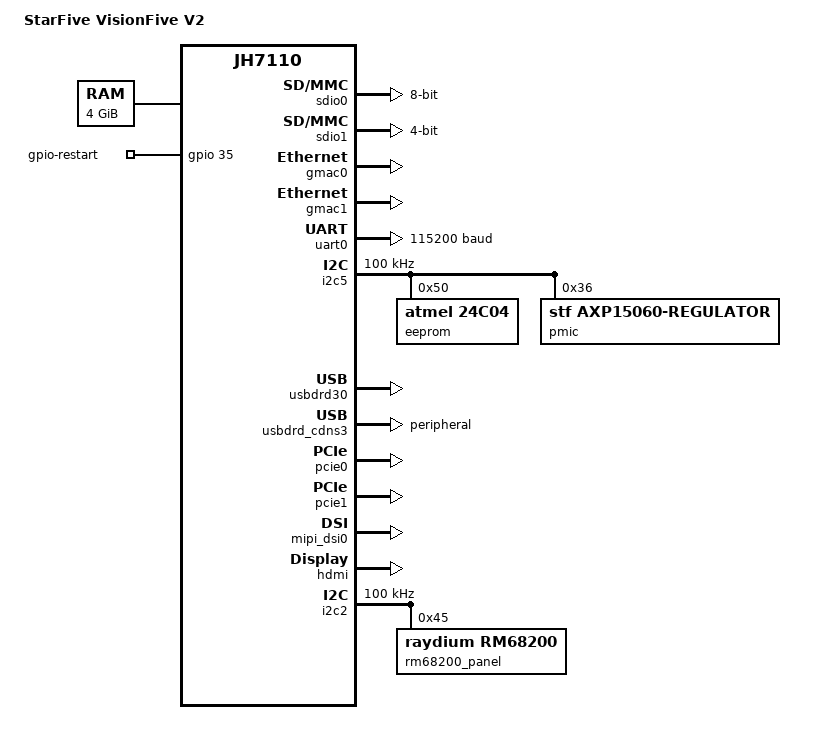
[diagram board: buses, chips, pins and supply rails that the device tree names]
// SPDX-License-Identifier: GPL-2.0 OR MIT
/*
 * Copyright (C) 2022 StarFive Technology Co., Ltd.
 */

/dts-v1/;

#include "jh7110.dtsi"
#include <dt-bindings/gpio/gpio.h>
#include <dt-bindings/pinctrl/pinctrl-starfive-jh7110.h>
/ {
	#address-cells = <2>;
	#size-cells = <2>;
	model = "StarFive VisionFive V2";
	compatible = "starfive,jh7110";

	signature {
			key-VF2_fit_key {
					required = "conf";
					algo = "sha256,rsa2048";
					rsa,r-squared = <0x8e4015fd 0xe9dea710 0x988193e1 0x2f378979 0xd9578649 0xf008a824 0x1ff557d2 0xf3181b56 0x3b695b66 0xe9d938eb 0xc63bc328 0x511fc0df 0x5c9c143e 0x7c6af852 0x6cd41008 0x0e6189a3 0x58b5b6d1 0x26a64fa0 0x84c89d28 0xc8381eab 0xc41c49d9 0x9fc9d489 0x0056b31e 0x5317684b 0x17b96764 0x44af1125 0xd5a00a20 0xfd128b7e 0x0e112d9f 0x5a333648 0x80f26377 0xbc0ec3fc 0x49ced45d 0x505ebcb2 0x5375301f 0x898f9a23 0xc8932371 0x87b380a8 0x50f0270e 0x516ba1a0 0x71384fd9 0xc652e354 0x0fc20aa9 0xfdb149bb 0x6551febd 0xd63a0214 0xb9ac005b 0x80becc42 0x6806a2a7 0xe45686b5 0xa7b428ae 0xa230efc4 0x8a068ef6 0xdf1b4978 0x1d551d31 0x8eb18f91 0x20154d7c 0x49159095 0xc7821247 0xd3ee241f 0x57470ca1 0xc0ab74f1 0x04da379f 0xc680c9d8>;
					rsa,modulus = <0xa8ee1a75 0x64524297 0xcb2cc73d 0x6b84d3ec 0x906c7b97 0xf5e66fa7 0x6b52ec62 0xd4d110fe 0x9edfe6c7 0xa76fdddd 0x8868ef31 0x78c67aee 0xc73147e5 0xd7ac460c 0x74c283ff 0xb11cd0e8 0xf91e4c2d 0x24fe223a 0x4f8fa2ee 0x6640882d 0x3ca84746 0x80046895 0x26b3e105 0x78272405 0x415274da 0xf0642e9f 0x8d393b0b 0xaffa0ae9 0xcac805b1 0x768f583c 0x0553a575 0xcc6bf22f 0x6caf0b3d 0x3a154256 0x6b9f30fc 0x9ef10322 0x7583a4e2 0xb881f956 0xb116dfdc 0x5b053d97 0x3340f3e7 0xf7bf24c2 0x5e67d245 0x741b2bb0 0x1fb64514 0x3803f921 0x9f8b1cb5 0xd4c287e8 0xcc400797 0x7ef3364b 0xf844011f 0x0118f259 0x9ccc1732 0x6f6ee3fe 0x6aca7b48 0x1a4d7c69 0xc23083f9 0x19eab691 0x8d61e827 0x781ea460 0x87388388 0x750e375f 0x1b4f81d8 0xb82c1f6b>;
					rsa,exponent = <0x00000000 0x00010001>;
					rsa,n0-inverse = <0x9e5feabd>;
					rsa,num-bits = <0x00000800>;
					key-name-hint = "VF2_fit_key";
					u-boot,dm-spl;
			};
	};

	aliases {
		spi0="/soc/spi@13010000";
		gpio0="/soc/gpio@13040000";
		ethernet0=&gmac0;
		ethernet1=&gmac1;
		mmc0=&sdio0;
		mmc1=&sdio1;
		i2c0 = &i2c5;
	};

	chosen {
			stdout-path = "/soc/serial@10000000:115200";
			starfive,boot-hart-id = <1>;
	};


	memory@80000000 {
		device_type = "memory";
		reg = <0x0 0x40000000 0x1 0x0>;
	};

	reserved-memory {
			#size-cells = <2>;
			#address-cells = <2>;
			ranges;

			opensbi {
				reg = <0x00 0x40000000 0x00 0x80000>;
				no-map;
			};
	};

	soc {
	};

	gpio-restart {
		compatible = "gpio-restart";
		gpios = <&gpio 35 GPIO_ACTIVE_HIGH>;
	};
};

&cpu0 {
	status = "okay";
};

&clkgen {
	clocks = <&osc>, <&gmac1_rmii_refin>,
		<&stg_apb>, <&gmac0_rmii_refin>;
	clock-names = "osc", "gmac1_rmii_refin",
		"stg_apb", "gmac0_rmii_refin";
};

&gpio {
	status = "okay";
	gpio-controller;
	uart0_pins: uart0-0 {
		tx-pins {
			pinmux = <GPIOMUX(5, GPOUT_SYS_UART0_TX,
						GPOEN_ENABLE, GPI_NONE)>;
			bias-disable;
			drive-strength = <12>;
			input-disable;
			input-schmitt-disable;
			slew-rate = <0>;
		};

		rx-pins {
			pinmux = <GPIOMUX(6, GPOUT_LOW,
						GPOEN_DISABLE, GPI_SYS_UART0_RX)>;
			bias-pull-up;
			drive-strength = <2>;
			input-enable;
			input-schmitt-enable;
			slew-rate = <0>;
		};
	};

	mmc0_pins: mmc0-pins {
		 mmc0-pins-rest {
			pinmux = <GPIOMUX(62, GPOUT_SYS_SDIO0_RST,
						GPOEN_ENABLE, GPI_NONE)>;
			bias-pull-up;
			drive-strength = <12>;
			input-disable;
			input-schmitt-disable;
			slew-rate = <0>;
		};
	};

	sdcard1_pins: sdcard1-pins {
		sdcard1-pins0 {
			pinmux = <GPIOMUX(10, GPOUT_SYS_SDIO1_CLK,
						GPOEN_ENABLE, GPI_NONE)>;
			bias-pull-up;
			drive-strength = <12>;
			input-disable;
			input-schmitt-disable;
			slew-rate = <0>;
		};

		sdcard1-pins1 {
			pinmux = <GPIOMUX(9, GPOUT_SYS_SDIO1_CMD,
						GPOEN_SYS_SDIO1_CMD, GPI_SYS_SDIO1_CMD)>;
			bias-pull-up;
			drive-strength = <12>;
			input-enable;
			input-schmitt-enable;
			slew-rate = <0>;
		};

		sdcard1-pins2 {
			pinmux = <GPIOMUX(11, GPOUT_SYS_SDIO1_DATA0,
						GPOEN_SYS_SDIO1_DATA0, GPI_SYS_SDIO1_DATA0)>;
			bias-pull-up;
			drive-strength = <12>;
			input-enable;
			input-schmitt-enable;
			slew-rate = <0>;
		};

		sdcard1-pins3 {
			pinmux = <GPIOMUX(12, GPOUT_SYS_SDIO1_DATA1,
						GPOEN_SYS_SDIO1_DATA1, GPI_SYS_SDIO1_DATA1)>;
			bias-pull-up;
			drive-strength = <12>;
			input-enable;
			input-schmitt-enable;
			slew-rate = <0>;
		};

		sdcard1-pins4 {
			pinmux = <GPIOMUX(7, GPOUT_SYS_SDIO1_DATA2,
						GPOEN_SYS_SDIO1_DATA2, GPI_SYS_SDIO1_DATA2)>;
			bias-pull-up;
			drive-strength = <12>;
			input-enable;
			input-schmitt-enable;
			slew-rate = <0>;
		};

		sdcard1-pins5 {
			pinmux = <GPIOMUX(8, GPOUT_SYS_SDIO1_DATA3,
						GPOEN_SYS_SDIO1_DATA3, GPI_SYS_SDIO1_DATA3)>;
			bias-pull-up;
			drive-strength = <12>;
			input-enable;
			input-schmitt-enable;
			slew-rate = <0>;
		};
	};

	pcie0_perst_default: pcie0_perst_default {
		perst-pins {
			pinmux = <GPIOMUX(26, GPOUT_HIGH, GPOEN_ENABLE, GPI_NONE)>;
			drive-strength = <2>;
			input-disable;
			input-schmitt-disable;
			slew-rate = <0>;
		};
	};

	pcie0_perst_active: pcie0_perst_active {
		perst-pins {
			pinmux = <GPIOMUX(26, GPOUT_LOW, GPOEN_ENABLE, GPI_NONE)>;
			drive-strength = <2>;
			input-disable;
			input-schmitt-disable;
			slew-rate = <0>;
		};
	};

	pcie0_wake_default: pcie0_wake_default {
		wake-pins {
			pinmux = <GPIOMUX(32, GPOUT_HIGH, GPOEN_ENABLE, GPI_NONE)>;
			drive-strength = <2>;
			input-enable;
			input-schmitt-disable;
			slew-rate = <0>;
		};
	};

	pcie0_clkreq_default: pcie0_clkreq_default {
		clkreq-pins {
			pinmux = <GPIOMUX(27, GPOUT_HIGH, GPOEN_ENABLE, GPI_NONE)>;
			drive-strength = <2>;
			input-enable;
			input-schmitt-disable;
			slew-rate = <0>;
		};
	};

	pcie1_perst_default: pcie1_perst_default {
		perst-pins {
			pinmux = <GPIOMUX(28, GPOUT_HIGH, GPOEN_ENABLE, GPI_NONE)>;
			drive-strength = <2>;
			input-disable;
			input-schmitt-disable;
			slew-rate = <0>;
		};
	};

	pcie1_perst_active: pcie1_perst_active {
		perst-pins {
			pinmux = <GPIOMUX(28, GPOUT_LOW, GPOEN_ENABLE, GPI_NONE)>;
			drive-strength = <2>;
			input-disable;
			input-schmitt-disable;
			slew-rate = <0>;
		};
	};

	pcie1_wake_default: pcie1_wake_default {
		wake-pins {
			pinmux = <GPIOMUX(21, GPOUT_HIGH, GPOEN_ENABLE, GPI_NONE)>;
			drive-strength = <2>;
			input-enable;
			input-schmitt-disable;
			slew-rate = <0>;
		};
	};

	pcie1_clkreq_default: pcie1_clkreq_default {
		clkreq-pins {
			pinmux = <GPIOMUX(29, GPOUT_HIGH, GPOEN_ENABLE, GPI_NONE)>;
			drive-strength = <2>;
			input-enable;
			input-schmitt-disable;
			slew-rate = <0>;
		};
	};

	i2c2_pins: i2c2-0 {
		i2c-pins {
			pinmux = <GPIOMUX(3, GPOUT_LOW,
				  GPOEN_SYS_I2C2_CLK,
				  GPI_SYS_I2C2_CLK)>,
				 <GPIOMUX(2, GPOUT_LOW,
				  GPOEN_SYS_I2C2_DATA,
				  GPI_SYS_I2C2_DATA)>;
			bias-disable; /* external pull-up */
			input-enable;
			input-schmitt-enable;
		};
	};

	i2c5_pins: i2c5-0 {
		i2c-pins {
			pinmux = <GPIOMUX(19, GPOUT_LOW,
				  GPOEN_SYS_I2C5_CLK,
				  GPI_SYS_I2C5_CLK)>,
				 <GPIOMUX(20, GPOUT_LOW,
				  GPOEN_SYS_I2C5_DATA,
				  GPI_SYS_I2C5_DATA)>;
			bias-disable; /* external pull-up */
			input-enable;
			input-schmitt-enable;
		};
	};

	hdmi_pins: hdmi-0 {


		cec-pins {
			pinmux = <GPIOMUX(14, GPOUT_SYS_HDMI_CEC_SDA,
				  GPOEN_SYS_HDMI_CEC_SDA,
				  GPI_SYS_HDMI_CEC_SDA)>;
			bias-pull-up;
			input-enable;
		};

		hpd-pins {
			pinmux = <GPIOMUX(15, GPOUT_LOW,
				  GPOEN_DISABLE,
				  GPI_SYS_HDMI_HPD)>;
			input-enable;
		};
	};
};

&sdio0 {
	assigned-clocks = <&clkgen JH7110_SDIO0_CLK_SDCARD>;
	assigned-clock-rates = <50000000>;
	fifo-depth = <32>;
	bus-width = <8>;
	pinctrl-names = "default";
	pinctrl-0 = <&mmc0_pins>;
	status = "okay";
};

&sdio1 {
	assigned-clocks = <&clkgen JH7110_SDIO1_CLK_SDCARD>;
	assigned-clock-rates = <50000000>;
	fifo-depth = <32>;
	bus-width = <4>;
	pinctrl-names = "default";
	pinctrl-0 = <&sdcard1_pins>;
	status = "okay";
};

&gmac0 {
	status = "okay";
	#address-cells = <1>;
	#size-cells = <0>;
	phy0: ethernet-phy@0 {
		rgmii_sw_dr_2 = <0x0>;
		rgmii_sw_dr = <0x3>;
		rgmii_sw_dr_rxc = <0x6>;
		rxc_dly_en = <0>;
		rx_delay_sel = <0xa>;
		tx_delay_sel_fe = <5>;
		tx_delay_sel = <0xa>;
		tx_inverted_10 = <0x1>;
		tx_inverted_100 = <0x1>;
		tx_inverted_1000 = <0x1>;
	};
};

&gmac1 {
	status = "okay";
	#address-cells = <1>;
	#size-cells = <0>;
	phy1: ethernet-phy@1 {
		rgmii_sw_dr_2 = <0x0>;
		rgmii_sw_dr = <0x3>;
		rgmii_sw_dr_rxc = <0x6>;
		tx_delay_sel_fe = <5>;
		tx_delay_sel = <0>;
		rxc_dly_en = <0>;
		rx_delay_sel = <0x2>;
		tx_inverted_10 = <0x1>;
		tx_inverted_100 = <0x1>;
		tx_inverted_1000 = <0x0>;
	};
};

&uart0 {
	reg-offset = <0>;
	current-speed = <115200>;
	pinctrl-names = "default";
	pinctrl-0 = <&uart0_pins>;
	status = "okay";
};

&i2c5 {
	clock-frequency = <100000>;
	i2c-sda-hold-time-ns = <300>;
	i2c-sda-falling-time-ns = <3000>;
	i2c-scl-falling-time-ns = <3000>;
	auto_calc_scl_lhcnt;
	status = "okay";

	eeprom@50 {
		compatible = "atmel,24c04";
		reg = <0x50>;
		pagesize = <16>;
	};

	pmic: axp15060_reg@36 {
               compatible = "stf,axp15060-regulator";
               reg = <0x36>;
	};

};

&gpioa {
	status = "disabled";
};

&usbdrd30 {
	status = "okay";
};

&usbdrd_cdns3 {
	dr_mode = "peripheral";
};

&pcie0 {
	pinctrl-names = "perst-default", "perst-active", "wake-default", "clkreq-default";
	pinctrl-0 = <&pcie0_perst_default>;
	pinctrl-1 = <&pcie0_perst_active>;
	pinctrl-2 = <&pcie0_wake_default>;
	pinctrl-3 = <&pcie0_clkreq_default>;
	status = "okay";
};

&pcie1 {
	pinctrl-names = "perst-default", "perst-active", "wake-default", "clkreq-default";
	pinctrl-0 = <&pcie1_perst_default>;
	pinctrl-1 = <&pcie1_perst_active>;
	pinctrl-2 = <&pcie1_wake_default>;
	pinctrl-3 = <&pcie1_clkreq_default>;
	status = "okay";
};

&timer {
	status = "disabled";
};

&wdog {
	status = "disabled";
};

&clkvout {
	status = "okay";
};

&pdm {
	status = "disabled";
};

&mipi_dsi0 {
	status = "okay";
	rockchip,panel = <&rm68200_panel>;
	data-lanes-num = <1>;
	display-timings {
		timing0 {
		bits-per-pixel = <24>;
		clock-frequency = <160000000>;
		hfront-porch = <120>;
		hsync-len = <20>;
		hback-porch = <21>;
		hactive = <1200>;
		vfront-porch = <21>;
		vsync-len = <3>;
		vback-porch = <18>;
		vactive = <1920>;
		hsync-active = <0>;
		vsync-active = <0>;
		de-active = <1>;
		pixelclk-active = <0>;
		};
	};

};

&hdmi{
	pinctrl-names = "default";
	pinctrl-0 = <&hdmi_pins>;
	status = "okay";
};

&i2c2 {
	clock-frequency = <100000>;
	i2c-sda-hold-time-ns = <300>;
	i2c-sda-falling-time-ns = <3000>;
	i2c-scl-falling-time-ns = <3000>;
	auto_calc_scl_lhcnt;
	pinctrl-names = "default";
	pinctrl-0 = <&i2c2_pins>;
	status = "okay";

	rm68200_panel: rm68200_panel@45 {
		compatible = "raydium,rm68200";
		reg = <0x45>;

	};


};

